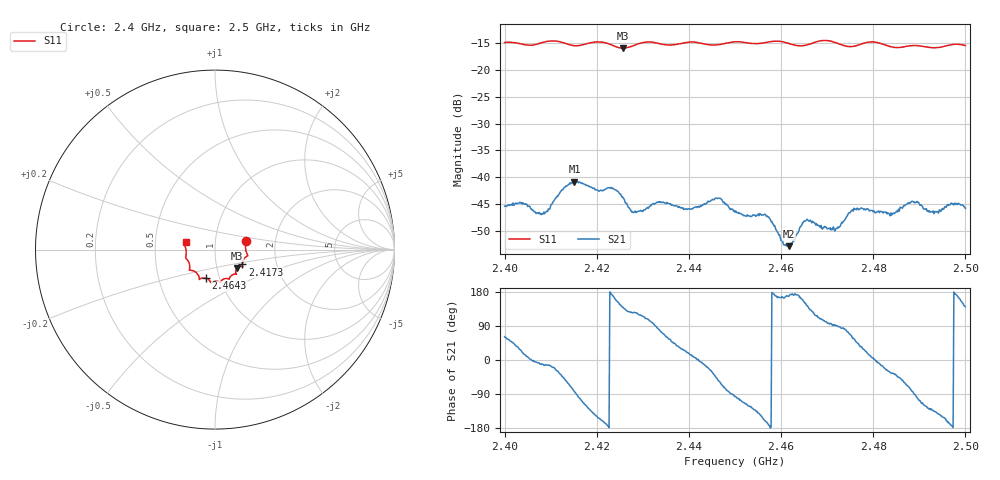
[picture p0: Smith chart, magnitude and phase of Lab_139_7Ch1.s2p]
# Hz S RI R 50
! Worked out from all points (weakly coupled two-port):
!   601 points, 2.4 GHz to 2.5 GHz, reference 50 ohm
!   highest |S21| = -40.80 dB at 2.4152 GHz (marker M1); lowest = -52.9 dB at 2.4617 GHz (marker M2)
!   lowest |S11| = -15.9 dB at 2.4257 GHz (marker M3), VSWR 1.38, Z = 62.4 - j13.1 ohm
!   |S11| at or under -10 dB: start of sweep to end of sweep
!   S12 and S22 are empty: the file has one direction only
!   S11 on the Smith chart (normalised r, x): 2.4 GHz: 1.41, +0.14; 2.4173 GHz: 1.34, -0.23; 2.4643 GHz: 0.86, -0.28; 2.5 GHz: 0.72, +0.06
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2.4e9  0.1736 0.0493  0.00256 0.00472  0 0  0 0
2.403667e9  0.1721 0.0286  0.00533 0.00228  0 0  0 0
2.4085e9  0.18 -0.0255  0.0046 -0.00111  0 0  0 0
2.415167e9  0.1581 -0.0572  0.00109 -0.00905  0 0  0 0
2.416667e9  0.1531 -0.075  -0.00248 -0.00838  0 0  0 0
2.417333e9  0.1523 -0.0826  -0.00387 -0.00765  0 0  0 0
2.425667e9  0.1223 -0.1023  -0.00491 0.00428  0 0  0 0
2.428e9  0.1147 -0.1238  -0.00272 0.00381  0 0  0 0
2.433333e9  0.1126 -0.1365  0.000809 0.00577  0 0  0 0
2.44e9  0.0799 -0.1633  0.00483 0.00151  0 0  0 0
2.446333e9  0.0445 -0.1662  0.00375 -0.00514  0 0  0 0
2.45e9  0.0295 -0.1808  -0.000523 -0.00469  0 0  0 0
2.456833e9  -0.0126 -0.1803  -0.00413 -0.00124  0 0  0 0
2.461667e9  -0.0279 -0.1745  -0.00222 0.000476  0 0  0 0
2.464333e9  -0.05 -0.1603  -0.00332 0.00109  0 0  0 0
2.466667e9  -0.0762 -0.1597  -0.00237 0.00291  0 0  0 0
2.471333e9  -0.0871 -0.1612  -0.000176 0.00343  0 0  0 0
2.476e9  -0.1163 -0.1196  0.003 0.00407  0 0  0 0
2.483333e9  -0.1408 -0.0897  0.00399 -0.0023  0 0  0 0
2.488333e9  -0.1616 -0.0493  0.000868 -0.0059  0 0  0 0
2.492833e9  -0.1603 -0.0157  -0.00322 -0.00348  0 0  0 0
2.5e9  -0.1637 0.0416  -0.00395 0.00324  0 0  0 0
